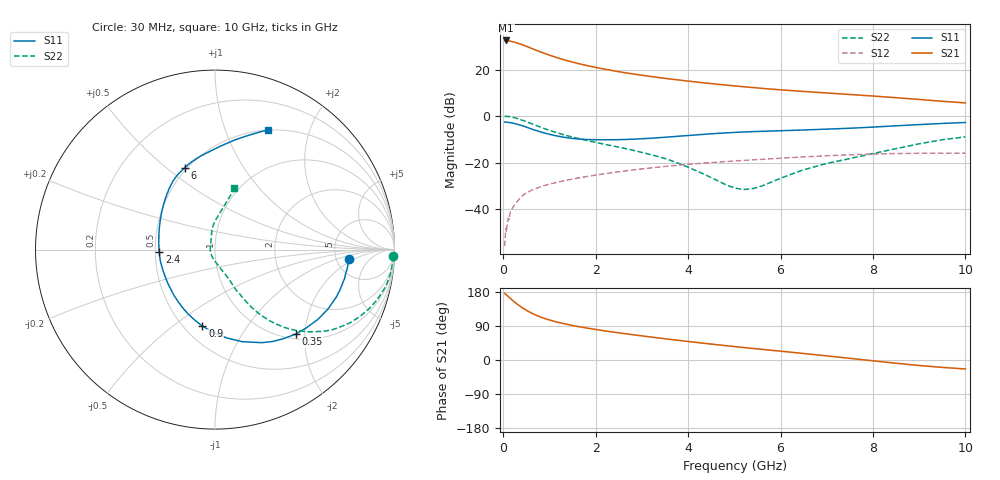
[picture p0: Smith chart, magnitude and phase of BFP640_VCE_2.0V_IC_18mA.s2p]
! Infineon Technologies  Discrete & RF Semiconductors
! BFP640
! VCE =  2.0 V,  IC =  18 mA
! Common Emitter S-Parameters:  Apr 2013
# GHz  S  MA  R  50
!  f  S11  S21  S12  S22
! GHz  MAG  ANG  MAG  ANG  MAG  ANG  MAG  ANG
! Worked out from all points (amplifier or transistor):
!   99 points, 30 MHz to 10 GHz, reference 50 ohm
!   highest |S21| = 32.5 dB at 60 MHz (marker M1)
!   |S21| within 3 dB of that: start of sweep to 562.4 MHz
!   unconditionally stable (mu >= 1): 2.882 GHz to end of sweep
!   at 350 MHz: K = 0.25, MSG = 33.3 dB, |S12| = -35.5 dB
!   at 3.5 GHz: K = 1.03, MAG = 17.9 dB, |S12| = -21.6 dB
!   at 10 GHz: K = 1.07, MAG = 9.1 dB, |S12| = -15.9 dB
!   S11 on the Smith chart (normalised r, x): 30 MHz: 6.52, -1.58; 350 MHz: 1.10, -1.79; 900 MHz: 0.61, -0.64; 2.4 GHz: 0.53, -0.01; 6 GHz: 0.49, +0.58; 10 GHz: 0.50, +1.42
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0.03  0.7473 -4.1  42.24 176.1  0.0016 76.2  0.9909 -2.1
0.06  0.7435 -8.5  42.4 172.6  0.0039 75.9  0.9904 -5.0
0.12  0.7323 -16.8  41.56 166.1  0.0063 83.3  0.9787 -10.3
0.2  0.7115 -27.6  39.91 157.6  0.0105 75.0  0.9464 -17.1
0.3  0.6706 -40.5  37.48 147.7  0.0145 72.9  0.8895 -24.7
0.35  0.6507 -46.4  35.97 143.2  0.0167 70.2  0.8588 -28.2
0.4  0.6256 -52.5  34.66 138.8  0.0187 68.1  0.8245 -31.3
0.45  0.6046 -57.8  33.1 135.0  0.0207 66.9  0.7933 -34.2
0.6  0.5346 -73.6  29.02 124.5  0.0253 62.3  0.6949 -41.3
0.7  0.496 -82.6  26.46 118.9  0.0276 59.8  0.6366 -45.0
0.9  0.4319 -99.3  22.27 109.4  0.0323 57.1  0.5366 -50.6
1.1  0.3854 -113.7  18.99 102.1  0.0364 55.2  0.4587 -54.3
1.2  0.3686 -120.0  17.64 99.1  0.0384 54.4  0.4287 -55.7
1.4  0.3422 -132.0  15.44 93.6  0.0424 53.2  0.3768 -57.8
1.7  0.3189 -148.1  12.97 86.7  0.0482 51.9  0.3171 -59.6
2.4  0.3108 -177.8  9.398 73.4  0.0619 47.8  0.2259 -63.3
3.4  0.3462 151.8  6.692 57.6  0.0809 41.0  0.1307 -70.2
5.1  0.4512 120.4  4.378 34.2  0.11 27.3  0.0274 -161.2
6  0.4851 110.5  3.684 23.3  0.1244 20.2  0.046 119.4
6.7  0.5127 102.8  3.296 14.6  0.136 14.0  0.0798 104.5
8.5  0.6194 80.0  2.493 -8.6  0.157 -3.7  0.2002 83.1
10  0.7301 66.1  1.924 -23.7  0.1605 -15.3  0.3585 72.8
